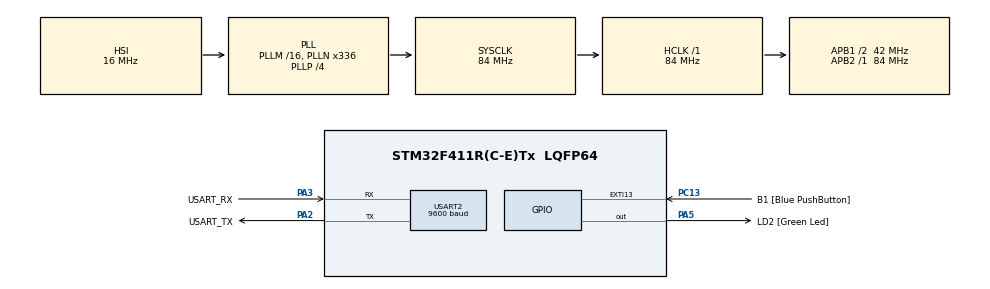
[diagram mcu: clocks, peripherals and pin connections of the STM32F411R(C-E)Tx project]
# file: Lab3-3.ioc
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FREERTOS.Tasks01=defaultTask,0,128,StartDefaultTask,Default,NULL,Dynamic,NULL,NULL
FREERTOS.configUSE_TIMERS=1
Mcu.Family=STM32F4
Mcu.Name=STM32F411R(C-E)Tx
Mcu.Package=LQFP64
NVIC.PriorityGroup=NVIC_PRIORITYGROUP_4
PA13.GPIO_Label=TMS
PA13.Mode=Serial_Wire
PA13.Signal=SYS_JTMS-SWDIO
PA14.GPIO_Label=TCK
PA14.Mode=Serial_Wire
PA14.Signal=SYS_JTCK-SWCLK
PA2.GPIO_Label=USART_TX
PA2.Mode=Asynchronous
PA2.Signal=USART2_TX
PA3.GPIO_Label=USART_RX
PA3.Mode=Asynchronous
PA3.Signal=USART2_RX
PA5.GPIO_Label=LD2 [Green Led]
PA5.Signal=GPIO_Output
PB3.GPIO_Label=SWO
PB3.Signal=SYS_JTDO-SWO
PC13-ANTI_TAMP.GPIO_Label=B1 [Blue PushButton]
PC13-ANTI_TAMP.GPIO_ModeDefaultEXTI=GPIO_MODE_IT_FALLING
PC13-ANTI_TAMP.Signal=GPXTI13
PC14-OSC32_IN.Mode=LSE-External-Oscillator
PC14-OSC32_IN.Signal=RCC_OSC32_IN
PC15-OSC32_OUT.Mode=LSE-External-Oscillator
PC15-OSC32_OUT.Signal=RCC_OSC32_OUT
PH0\ -\ OSC_IN.Mode=HSE-External-Clock-Source
PH0\ -\ OSC_IN.Signal=RCC_OSC_IN
PH1\ -\ OSC_OUT.Mode=HSE-External-Clock-Source
PH1\ -\ OSC_OUT.Signal=RCC_OSC_OUT
ProjectManager.HeapSize=0x200
ProjectManager.StackSize=0x400
ProjectManager.TargetToolchain=STM32CubeIDE
RCC.48MHZClocksFreq_Value=84000000
RCC.AHBFreq_Value=84000000
RCC.APB1CLKDivider=RCC_HCLK_DIV2
RCC.APB1Freq_Value=42000000
RCC.APB1TimFreq_Value=84000000
RCC.APB2Freq_Value=84000000
RCC.APB2TimFreq_Value=84000000
RCC.CortexFreq_Value=84000000
RCC.FLatency-AdvancedSettings=FLASH_LATENCY_2
RCC.HCLKFreq_Value=84000000
RCC.HSE_VALUE=8000000
RCC.HSI_VALUE=16000000
RCC.PLLN=336
RCC.PLLP=RCC_PLLP_DIV4
RCC.SYSCLKFreq_VALUE=84000000
RCC.SYSCLKSource=RCC_SYSCLKSOURCE_PLLCLK
RCC.VCOOutputFreq_Value=336000000
USART2.BaudRate=9600
USART2.VirtualMode=VM_ASYNC
VP_FREERTOS_VS_CMSIS_V1.Mode=CMSIS_V1
board=NUCLEO-F411RE

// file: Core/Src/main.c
/* USER CODE BEGIN Header */
/**
 ******************************************************************************
 * @file           : main.c
 * @brief          : Main program body
 ******************************************************************************
 * @attention
 *
 * <h2><center>&copy; Copyright (c) 2021 STMicroelectronics.
 * All rights reserved.</center></h2>
 *
 * This software component is licensed by ST under BSD 3-Clause license,
 * the "License"; You may not use this file except in compliance with the
 * License. You may obtain a copy of the License at:
 *                        opensource.org/licenses/BSD-3-Clause
 *
 ******************************************************************************
 */
/* USER CODE END Header */
#include "main.h"
#include "cmsis_os.h"

UART_HandleTypeDef huart2;

osThreadId Task01Handle;
osThreadId Task02Handle;
osThreadId Task03Handle;
osThreadId Task04Handle;
osThreadId Task05Handle;
osSemaphoreId myBinarySem01Handle;

void SystemClock_Config(void);
static void MX_GPIO_Init(void);
static void MX_USART2_UART_Init(void);
void StartTask01(void const *argument);
void StartTask02(void const *argument);
void StartTask03(void const *argument);
void StartTask04(void const *argument);
void StartTask05(void const *argument);

int main(void) {

	/* MCU Configuration--------------------------------------------------------*/

	/* Reset of all peripherals, Initializes the Flash interface and the Systick. */
	HAL_Init();

	/* Configure the system clock */
	SystemClock_Config();

	/* Initialize all configured peripherals */
	MX_GPIO_Init();
	MX_USART2_UART_Init();

	/* Create the semaphores(s) */
	/* definition and creation of myBinarySem01 */
	osSemaphoreDef(myBinarySem01);
	myBinarySem01Handle = osSemaphoreCreate(osSemaphore(myBinarySem01), 1);

	/* Create the thread(s) */
	/* definition and creation of Task01 */
	osThreadDef(Task01, StartTask01, osPriorityNormal, 0, 128);
	Task01Handle = osThreadCreate(osThread(Task01), NULL);

	/* definition and creation of Task02 */
	osThreadDef(Task02, StartTask02, osPriorityNormal, 0, 128);
	Task02Handle = osThreadCreate(osThread(Task02), NULL);

	/* definition and creation of Task03 */
	osThreadDef(Task03, StartTask03, osPriorityNormal, 0, 128);
	Task03Handle = osThreadCreate(osThread(Task03), NULL);

	/* definition and creation of Task04 */
	osThreadDef(Task04, StartTask04, osPriorityNormal, 0, 128);
	Task04Handle = osThreadCreate(osThread(Task04), NULL);

	/* definition and creation of Task05 */
	osThreadDef(Task05, StartTask05, osPriorityNormal, 0, 128);
	Task05Handle = osThreadCreate(osThread(Task05), NULL);

	/* Start scheduler */
	osKernelStart();

	/* We should never get here as control is now taken by the scheduler */
	/* Infinite loop */
	while (1) {

	}
}

void SystemClock_Config(void) {
	RCC_OscInitTypeDef RCC_OscInitStruct = { 0 };
	RCC_ClkInitTypeDef RCC_ClkInitStruct = { 0 };

	/** Configure the main internal regulator output voltage
	 */
	__HAL_RCC_PWR_CLK_ENABLE();
	__HAL_PWR_VOLTAGESCALING_CONFIG(PWR_REGULATOR_VOLTAGE_SCALE1);
	/** Initializes the RCC Oscillators according to the specified parameters
	 * in the RCC_OscInitTypeDef structure.
	 */
	RCC_OscInitStruct.OscillatorType = RCC_OSCILLATORTYPE_HSI;
	RCC_OscInitStruct.HSIState = RCC_HSI_ON;
	RCC_OscInitStruct.HSICalibrationValue = RCC_HSICALIBRATION_DEFAULT;
	RCC_OscInitStruct.PLL.PLLState = RCC_PLL_ON;
	RCC_OscInitStruct.PLL.PLLSource = RCC_PLLSOURCE_HSI;
	RCC_OscInitStruct.PLL.PLLM = 16;
	RCC_OscInitStruct.PLL.PLLN = 336;
	RCC_OscInitStruct.PLL.PLLP = RCC_PLLP_DIV4;
	RCC_OscInitStruct.PLL.PLLQ = 4;
	if (HAL_RCC_OscConfig(&RCC_OscInitStruct) != HAL_OK) {
		Error_Handler();
	}
	/** Initializes the CPU, AHB and APB buses clocks
	 */
	RCC_ClkInitStruct.ClockType = RCC_CLOCKTYPE_HCLK | RCC_CLOCKTYPE_SYSCLK
			| RCC_CLOCKTYPE_PCLK1 | RCC_CLOCKTYPE_PCLK2;
	RCC_ClkInitStruct.SYSCLKSource = RCC_SYSCLKSOURCE_PLLCLK;
	RCC_ClkInitStruct.AHBCLKDivider = RCC_SYSCLK_DIV1;
	RCC_ClkInitStruct.APB1CLKDivider = RCC_HCLK_DIV2;
	RCC_ClkInitStruct.APB2CLKDivider = RCC_HCLK_DIV1;

	if (HAL_RCC_ClockConfig(&RCC_ClkInitStruct, FLASH_LATENCY_2) != HAL_OK) {
		Error_Handler();
	}
}

static void MX_USART2_UART_Init(void) {

	huart2.Instance = USART2;
	huart2.Init.BaudRate = 9600;
	huart2.Init.WordLength = UART_WORDLENGTH_8B;
	huart2.Init.StopBits = UART_STOPBITS_1;
	huart2.Init.Parity = UART_PARITY_NONE;
	huart2.Init.Mode = UART_MODE_TX_RX;
	huart2.Init.HwFlowCtl = UART_HWCONTROL_NONE;
	huart2.Init.OverSampling = UART_OVERSAMPLING_16;
	if (HAL_UART_Init(&huart2) != HAL_OK) {
		Error_Handler();
	}

}

static void MX_GPIO_Init(void) {
	GPIO_InitTypeDef GPIO_InitStruct = { 0 };

	/* GPIO Ports Clock Enable */
	__HAL_RCC_GPIOC_CLK_ENABLE();
	__HAL_RCC_GPIOH_CLK_ENABLE();
	__HAL_RCC_GPIOA_CLK_ENABLE();
	__HAL_RCC_GPIOB_CLK_ENABLE();

	/*Configure GPIO pin Output Level */
	HAL_GPIO_WritePin(LD2_GPIO_Port, LD2_Pin, GPIO_PIN_RESET);

	/*Configure GPIO pin : B1_Pin */
	GPIO_InitStruct.Pin = B1_Pin;
	GPIO_InitStruct.Mode = GPIO_MODE_IT_FALLING;
	GPIO_InitStruct.Pull = GPIO_NOPULL;
	HAL_GPIO_Init(B1_GPIO_Port, &GPIO_InitStruct);

	/*Configure GPIO pin : LD2_Pin */
	GPIO_InitStruct.Pin = LD2_Pin;
	GPIO_InitStruct.Mode = GPIO_MODE_OUTPUT_PP;
	GPIO_InitStruct.Pull = GPIO_NOPULL;
	GPIO_InitStruct.Speed = GPIO_SPEED_FREQ_LOW;
	HAL_GPIO_Init(LD2_GPIO_Port, &GPIO_InitStruct);

}

void StartTask01(void const *argument) {
	/* USER CODE BEGIN 5 */
	/* Infinite loop */
	char c = 'A';
	for (;;) {
		osSemaphoreWait(myBinarySem01Handle, 1);
		HAL_UART_Transmit(&huart2, (uint8_t*) &c, 1, 1000);
		osDelay(50);
		osSemaphoreRelease(myBinarySem01Handle);
	}
	/* USER CODE END 5 */
}

void StartTask02(void const *argument) {
	/* USER CODE BEGIN StartTask02 */
	/* Infinite loop */
	for (;;) {
		HAL_GPIO_TogglePin(GPIOA, GPIO_PIN_5);
		osDelay(18);
	}
	/* USER CODE END StartTask02 */
}

void StartTask03(void const *argument) {
	/* USER CODE BEGIN StartTask03 */
	/* Infinite loop */
	char c = 'B';
	for (;;) {
		osSemaphoreWait(myBinarySem01Handle, 1);
		HAL_UART_Transmit(&huart2, (uint8_t*) &c, 1, 1000);
		osDelay(128);
		osSemaphoreRelease(myBinarySem01Handle);
	}
	/* USER CODE END StartTask03 */
}

void StartTask04(void const *argument) {
	/* USER CODE BEGIN StartTask04 */
	/* Infinite loop */
	int threadID = 0;
	int idx = 0;
	char buffer[32];
	while (1) {
		osSemaphoreWait(myBinarySem01Handle, 1);
		sprintf(buffer, "TID: %d %d\r\n", threadID, idx);
		idx++;
		HAL_UART_Transmit(&huart2, buffer, strlen(buffer), 1000);
		osSemaphoreRelease(myBinarySem01Handle);
		osThreadYield();
	}

	/* USER CODE END StartTask04 */
}

void StartTask05(void const *argument) {
	/* USER CODE BEGIN StartTask05 */
	/* Infinite loop */
	int threadID = 1;
	int idx = 0;
	char buffer[32];
	while (1) {
		osSemaphoreWait(myBinarySem01Handle, 1);
		sprintf(buffer, "TID: %d %d\r\n", threadID, idx);
		idx++;
		HAL_UART_Transmit(&huart2, buffer, strlen(buffer), 1000);
		osSemaphoreRelease(myBinarySem01Handle);
		osThreadYield();
	}

	/* USER CODE END StartTask05 */
}

void Error_Handler(void) {
	__disable_irq();
	while (1) {
	}
}

/************************ (C) COPYRIGHT STMicroelectronics *****END OF FILE****/
